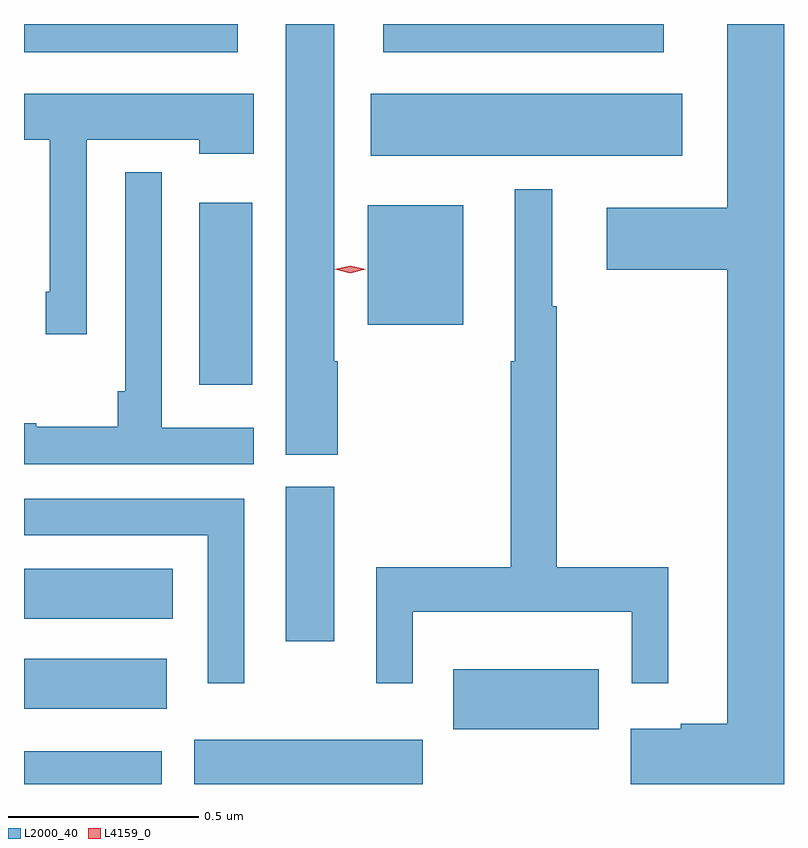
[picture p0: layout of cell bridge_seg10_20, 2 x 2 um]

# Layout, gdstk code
import gdstk
lib = gdstk.Library(unit=1e-6, precision=1e-09)
def R(c, l, rs):  # rectangles x0, y0, x1, y1
    for r in rs: c.add(gdstk.rectangle(r[:2], r[2:], *l))
def P(c, l, *ps):  # polygons
    for p in ps: c.add(gdstk.Polygon(p, *l))
L2000_40 = (2000, 40)
L4159_0 = (4159, 0)

bridge_seg10_20 = lib.new_cell('bridge_seg10_20')
R(bridge_seg10_20, L2000_40, [(1047.687,1324.109,1048.05,1324.195), (1048.135,1324.109,1048.736,1324.225), (1048.816,1324.253,1049.199,1324.411), (1047.687,1324.307,1048.063,1324.438), (1048.376,1324.485,1048.504,1324.891), (1047.687,1324.544,1048.078,1324.675), (1048.148,1325.16,1048.288,1325.638), (1048.592,1325.318,1048.843,1325.632), (1048.599,1325.762,1049.419,1325.926), (1047.687,1326.035,1048.249,1326.109), (1048.632,1326.035,1049.371,1326.109)])
P(bridge_seg10_20, L2000_40, [(1049.687,1326.109),(1049.537,1326.109),(1049.537,1325.626),(1049.22,1325.626),(1049.22,1325.462),(1049.537,1325.462),(1049.537,1324.268),(1049.415,1324.268),(1049.415,1324.255),(1049.284,1324.255),(1049.284,1324.109),(1049.687,1324.109)],
  [(1048.512,1325.222),(1048.504,1325.222),(1048.504,1326.109),(1048.376,1326.109),(1048.376,1324.976),(1048.512,1324.976)],
  [(1047.852,1325.804),(1048.148,1325.804),(1048.148,1325.768),(1048.291,1325.768),(1048.291,1325.926),(1047.687,1325.926),(1047.687,1325.804),(1047.755,1325.804),(1047.755,1325.404),(1047.744,1325.404),(1047.744,1325.292),(1047.852,1325.292)],
  [(1048.291,1325.046),(1048.05,1325.046),(1048.05,1325.719),(1047.954,1325.719),(1047.954,1325.143),(1047.934,1325.143),(1047.934,1325.049),(1047.719,1325.049),(1047.719,1325.059),(1047.687,1325.059),(1047.687,1324.95),(1048.291,1324.95)],
  [(1048.71,1324.562),(1049.286,1324.562),(1049.286,1324.374),(1049.383,1324.374),(1049.383,1324.679),(1049.089,1324.679),(1049.089,1325.366),(1049.077,1325.366),(1049.077,1325.674),(1048.979,1325.674),(1048.979,1325.222),(1048.968,1325.222),(1048.968,1324.679),(1048.614,1324.679),(1048.614,1324.374),(1048.71,1324.374)],
  [(1048.266,1324.86),(1047.687,1324.86),(1047.687,1324.764),(1048.17,1324.764),(1048.17,1324.374),(1048.266,1324.374)])
P(bridge_seg10_20, L4159_0, [(1048.545,1325.453),(1048.505,1325.463),(1048.505,1325.463),(1048.505,1325.463),(1048.545,1325.473),(1048.586,1325.463),(1048.586,1325.463),(1048.586,1325.463)])

lib.write_gds('bridge_seg10_20.gds')
